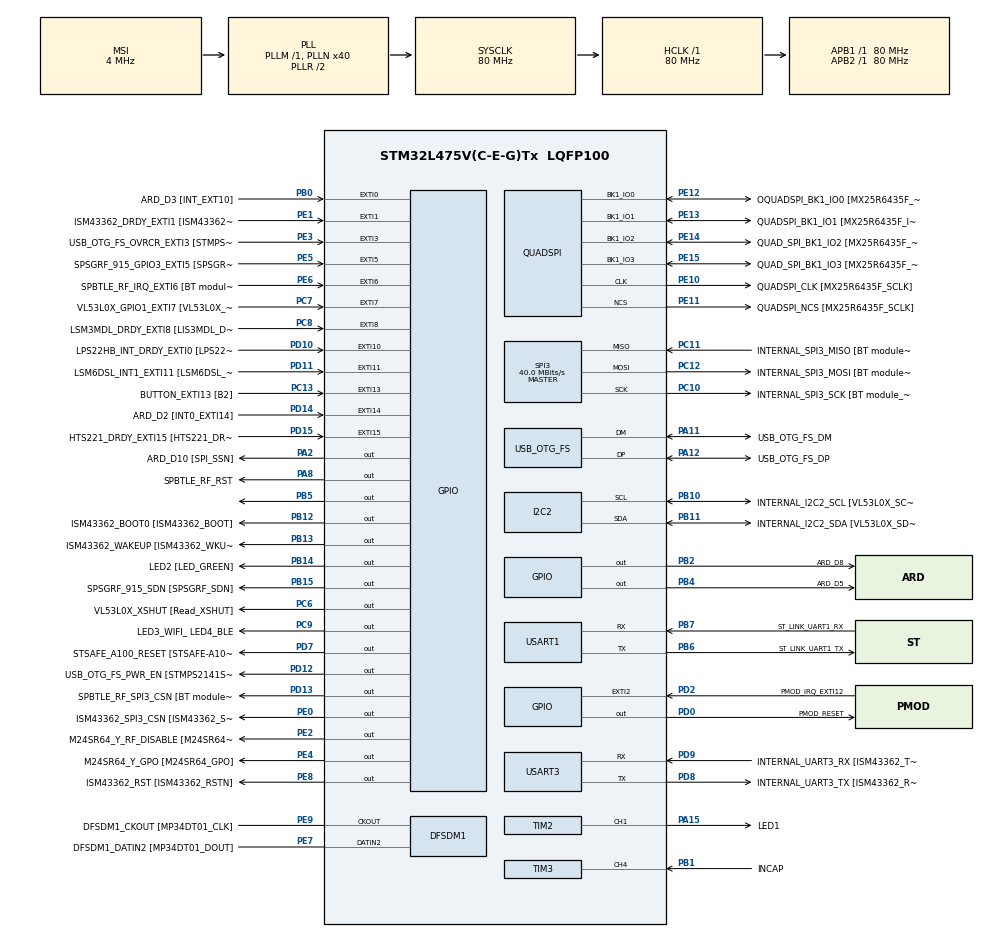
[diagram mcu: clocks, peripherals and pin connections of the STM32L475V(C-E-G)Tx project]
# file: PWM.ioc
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I2C2.Timing=0x10D19CE4
Mcu.Family=STM32L4
Mcu.Name=STM32L475V(C-E-G)Tx
Mcu.Package=LQFP100
NVIC.EXTI15_10_IRQn=true\:0\:0\:false\:false\:true\:true\:true\:true
NVIC.EXTI9_5_IRQn=true\:0\:0\:false\:false\:true\:true\:true\:true
NVIC.PriorityGroup=NVIC_PRIORITYGROUP_4
NVIC.TIM3_IRQn=true\:0\:0\:false\:false\:true\:true\:true\:true
PA0.GPIO_Label=ARD_D1 [UART4_TX]
PA0.Signal=UART4_TX
PA1.GPIO_Label=ARD_D0 [UART4_RX]
PA1.Signal=UART4_RX
PA10.GPIO_Label=USB_OTG_FS_ID
PA10.Signal=USB_OTG_FS_ID
PA11.GPIO_Label=USB_OTG_FS_DM
PA11.Mode=Device_Only
PA11.Signal=USB_OTG_FS_DM
PA12.GPIO_Label=USB_OTG_FS_DP
PA12.Mode=Device_Only
PA12.Signal=USB_OTG_FS_DP
PA13\ (JTMS-SWDIO).GPIO_Label=SYS_JTMS_SWDIO
PA13\ (JTMS-SWDIO).Mode=Serial_Wire
PA13\ (JTMS-SWDIO).Signal=SYS_JTMS-SWDIO
PA14\ (JTCK-SWCLK).GPIO_Label=SYS_JTCK_SWCLK
PA14\ (JTCK-SWCLK).Mode=Serial_Wire
PA14\ (JTCK-SWCLK).Signal=SYS_JTCK-SWCLK
PA15\ (JTDI).GPIO_Label=LED1
PA15\ (JTDI).Signal=S_TIM2_CH1
PA2.GPIO_Label=ARD_D10 [SPI_SSN]
PA2.Signal=GPIO_Output
PA3.GPIO_Label=ARD_D4
PA3.Signal=S_TIM2_CH4
PA4.GPIO_Label=ARD_D7
PA4.Signal=ADCx_IN9
PA6.GPIO_Label=ARD_D12 [SPI1_MISO]
PA6.Signal=SPI1_MISO
PA7.GPIO_Label=ARD_D11 [SPI1_MOSI]
PA7.Signal=SPI1_MOSI
PA8.GPIO_Label=SPBTLE_RF_RST
PA8.Signal=GPIO_Output
PA9.GPIO_Label=USB_OTG_FS_VBUS [STMPS2141STR_OUT]
PA9.Signal=USB_OTG_FS_VBUS
PB0.GPIO_Label=ARD_D3 [INT_EXT10]
PB0.Signal=GPXTI0
PB1.GPIO_Label=INCAP
PB1.Signal=S_TIM3_CH4
PB10.GPIO_Label=INTERNAL_I2C2_SCL [VL53L0X_SCL]
PB10.GPIO_Pu=GPIO_PULLUP
PB10.Mode=I2C
PB10.Signal=I2C2_SCL
PB11.GPIO_Label=INTERNAL_I2C2_SDA [VL53L0X_SDA]
PB11.GPIO_Pu=GPIO_PULLUP
PB11.Mode=I2C
PB11.Signal=I2C2_SDA
PB12.GPIO_Label=ISM43362_BOOT0 [ISM43362_BOOT]
PB12.Signal=GPIO_Output
PB13.GPIO_Label=ISM43362_WAKEUP [ISM43362_WKUP]
PB13.Signal=GPIO_Output
PB14.GPIO_Label=LED2 [LED_GREEN]
PB14.Signal=GPIO_Output
PB15.GPIO_Label=SPSGRF_915_SDN [SPSGRF_SDN]
PB15.Signal=GPIO_Output
PB2.GPIO_Label=ARD_D8
PB2.Signal=GPIO_Output
PB3\ (JTDO-TRACESWO).GPIO_Label=SYS_JTD0_SWO
PB3\ (JTDO-TRACESWO).Signal=SYS_JTDO-SWO
PB4\ (NJTRST).GPIO_Label=ARD_D5
PB4\ (NJTRST).Signal=GPIO_Output
PB5.Signal=GPIO_Output
PB6.GPIO_Label=ST_LINK_UART1_TX
PB6.Mode=Asynchronous
PB6.Signal=USART1_TX
PB7.GPIO_Label=ST_LINK_UART1_RX
PB7.Mode=Asynchronous
PB7.Signal=USART1_RX
PB8.GPIO_Label=ARD_D15 [I2C1_SCL]
PB8.Signal=I2C1_SCL
PB9.GPIO_Label=ARD_D14 [I2C1_SDA]
PB9.Signal=I2C1_SDA
PC0.GPIO_Label=ARD_A5 [ADC]
PC0.Signal=ADCx_IN1
PC1.GPIO_Label=ARD_A4 [ADC]
PC1.Signal=ADCx_IN2
PC10.GPIO_Label=INTERNAL_SPI3_SCK [BT module_SPI_SCLK] [ISM43362_SCK]
PC10.Mode=Full_Duplex_Master
PC10.Signal=SPI3_SCK
PC11.GPIO_Label=INTERNAL_SPI3_MISO [BT module_SPI_MISO] [ISM43362_MISO]
PC11.Mode=Full_Duplex_Master
PC11.Signal=SPI3_MISO
PC12.GPIO_Label=INTERNAL_SPI3_MOSI [BT module_SPI_MOSI] [ISM43362_MOSI]
PC12.Mode=Full_Duplex_Master
PC12.Signal=SPI3_MOSI
PC13.GPIO_Label=BUTTON_EXTI13 [B2]
PC13.GPIO_ModeDefaultEXTI=GPIO_MODE_IT_FALLING
PC13.Signal=GPXTI13
PC14-OSC32_IN\ (PC14).Mode=LSE-External-Oscillator
PC14-OSC32_IN\ (PC14).Signal=RCC_OSC32_IN
PC15-OSC32_OUT\ (PC15).Mode=LSE-External-Oscillator
PC15-OSC32_OUT\ (PC15).Signal=RCC_OSC32_OUT
PC2.GPIO_Label=ARD_A3 [ADC]
PC2.Signal=ADCx_IN3
PC3.GPIO_Label=ARD_A2 [ADC]
PC3.Signal=ADCx_IN4
PC4.GPIO_Label=ARD_A1 [ADC]
PC4.Signal=ADCx_IN13
PC5.GPIO_Label=ARD_A0 [ADC]
PC5.Signal=ADCx_IN14
PC6.GPIO_Label=VL53L0X_XSHUT [Read_XSHUT]
PC6.Signal=GPIO_Output
PC7.GPIO_Label=VL53L0X_GPIO1_EXTI7 [VL53L0X_GPIO1]
PC7.Signal=GPXTI7
PC8.GPIO_Label=LSM3MDL_DRDY_EXTI8 [LIS3MDL_DRDY]
PC8.Signal=GPXTI8
PC9.GPIO_Label=LED3_WIFI_ LED4_BLE
PC9.Signal=GPIO_Output
PD0.GPIO_Label=PMOD_RESET
PD0.Signal=GPIO_Output
PD1.GPIO_Label=PMOD_SPI2_SCK
PD1.Signal=SPI2_SCK
PD10.GPIO_Label=LPS22HB_INT_DRDY_EXTI0 [LPS22HB_INT_DRDY] 
PD10.Signal=GPXTI10
PD11.GPIO_Label=LSM6DSL_INT1_EXTI11 [LSM6DSL_INT1]
PD11.Signal=GPXTI11
PD12.GPIO_Label=USB_OTG_FS_PWR_EN [STMPS2141STR_EN]
PD12.Signal=GPIO_Output
PD13.GPIO_Label=SPBTLE_RF_SPI3_CSN [BT module_SPI_CS]
PD13.PinState=GPIO_PIN_SET
PD13.Signal=GPIO_Output
PD14.GPIO_Label=ARD_D2 [INT0_EXTI14]
PD14.Signal=GPXTI14
PD15.GPIO_Label=HTS221_DRDY_EXTI15 [HTS221_DRDY]
PD15.Signal=GPXTI15
PD2.GPIO_Label=PMOD_IRQ_EXTI12
PD2.Signal=GPXTI2
PD3.GPIO_Label=PMOD_UART2_CTS
PD3.Signal=USART2_CTS
PD4.GPIO_Label=PMOD_UART2_RTS
PD4.Signal=USART2_RTS
PD5.GPIO_Label=PMOD_UART2_TX
PD5.Signal=USART2_TX
PD6.GPIO_Label=PMOD_UART2_RX
PD6.Signal=USART2_RX
PD7.GPIO_Label=STSAFE_A100_RESET [STSAFE-A100_RESET]
PD7.Signal=GPIO_Output
PD8.GPIO_Label=INTERNAL_UART3_TX [ISM43362_RX]
PD8.Mode=Asynchronous
PD8.Signal=USART3_TX
PD9.GPIO_Label=INTERNAL_UART3_RX [ISM43362_TX]
PD9.Mode=Asynchronous
PD9.Signal=USART3_RX
PE0.GPIO_Label=ISM43362_SPI3_CSN [ISM43362_SSN]
PE0.PinState=GPIO_PIN_SET
PE0.Signal=GPIO_Output
PE1.GPIO_Label=ISM43362_DRDY_EXTI1 [ISM43362_DATARDY]
PE1.Signal=GPXTI1
PE10.GPIO_Label=QUADSPI_CLK [MX25R6435F_SCLK]
PE10.Mode=Single Bank
PE10.Signal=QUADSPI_CLK
PE11.GPIO_Label=QUADSPI_NCS [MX25R6435F_SCLK]
PE11.Mode=Single Bank
PE11.Signal=QUADSPI_NCS
PE12.GPIO_Label=OQUADSPI_BK1_IO0 [MX25R6435F_IO0]
PE12.Mode=Single Bank
PE12.Signal=QUADSPI_BK1_IO0
PE13.GPIO_Label=QUADSPI_BK1_IO1 [MX25R6435F_IO1]
PE13.Mode=Single Bank
PE13.Signal=QUADSPI_BK1_IO1
PE14.GPIO_Label=QUAD_SPI_BK1_IO2 [MX25R6435F_IO2]
PE14.Mode=Single Bank
PE14.Signal=QUADSPI_BK1_IO2
PE15.GPIO_Label=QUAD_SPI_BK1_IO3 [MX25R6435F_IO3]
PE15.Mode=Single Bank
PE15.Signal=QUADSPI_BK1_IO3
PE2.GPIO_Label=M24SR64_Y_RF_DISABLE [M24SR64_RFDIS]
PE2.Signal=GPIO_Output
PE3.GPIO_Label=USB_OTG_FS_OVRCR_EXTI3 [STMPS2141STR_FAULT]
PE3.Signal=GPXTI3
PE4.GPIO_Label=M24SR64_Y_GPO [M24SR64_GPO]
PE4.Signal=GPIO_Output
PE5.GPIO_Label=SPSGRF_915_GPIO3_EXTI5 [SPSGRF_GPIO_3]
PE5.Signal=GPXTI5
PE6.GPIO_Label=SPBTLE_RF_IRQ_EXTI6 [BT module_SPI_IRQ]
PE6.Signal=GPXTI6
PE7.GPIO_Label=DFSDM1_DATIN2 [MP34DT01_DOUT]
PE7.Signal=S_DATAIN2DFSDM1
PE8.GPIO_Label=ISM43362_RST [ISM43362_RSTN]
PE8.Signal=GPIO_Output
PE9.GPIO_Label=DFSDM1_CKOUT [MP34DT01_CLK]
PE9.Signal=S_CKOUTDFSDM1
ProjectManager.HeapSize=0x200
ProjectManager.StackSize=0x400
ProjectManager.TargetToolchain=STM32CubeIDE
QUADSPI.ClockPrescaler=2
QUADSPI.FifoThreshold=4
QUADSPI.FlashSize=23
QUADSPI.SampleShifting=QSPI_SAMPLE_SHIFTING_HALFCYCLE
RCC.ADCFreq_Value=48000000
RCC.AHBFreq_Value=80000000
RCC.APB1Freq_Value=80000000
RCC.APB1TimFreq_Value=80000000
RCC.APB2Freq_Value=80000000
RCC.APB2TimFreq_Value=80000000
RCC.CortexFreq_Value=80000000
RCC.HCLKFreq_Value=80000000
RCC.HSE_VALUE=8000000
RCC.HSI_VALUE=16000000
RCC.MSI_VALUE=4000000
RCC.PLLN=40
RCC.PLLSAI1N=24
RCC.SYSCLKFreq_VALUE=80000000
RCC.SYSCLKSource=RCC_SYSCLKSOURCE_PLLCLK
RCC.USBFreq_Value=48000000
RCC.VCOOutputFreq_Value=160000000
SH.ADCx_IN1.0=ADC1_IN1
SH.ADCx_IN13.0=ADC1_IN13
SH.ADCx_IN14.0=ADC1_IN14
SH.ADCx_IN2.0=ADC1_IN2
SH.ADCx_IN3.0=ADC1_IN3
SH.ADCx_IN4.0=ADC1_IN4
SH.ADCx_IN9.0=ADC1_IN9
SH.S_CKOUTDFSDM1.0=DFSDM1_CKOUT,CKOUT
SH.S_CKOUTDFSDM1.1=DFSDM1_CKOUT,PDM_SPI_Input_from_ch12_and_Internal_Clock
SH.S_DATAIN2DFSDM1.0=DFSDM1_DATIN2,PDM_SPI_Input_from_ch12_and_Internal_Clock
SH.S_TIM2_CH1.0=TIM2_CH1,PWM Generation1 CH1
SH.S_TIM2_CH4.0=TIM2_CH4
SH.S_TIM3_CH4.0=TIM3_CH4,Input_Capture4_from_TI4
SPI3.CalculateBaudRate=40.0 MBits/s
SPI3.Direction=SPI_DIRECTION_2LINES
SPI3.Mode=SPI_MODE_MASTER
SPI3.VirtualType=VM_MASTER
TIM2.AutoReloadPreload=TIM_AUTORELOAD_PRELOAD_ENABLE
TIM2.Channel-PWM\ Generation1\ CH1=TIM_CHANNEL_1
TIM2.Period=7999
TIM2.Prescaler=9999
TIM2.Pulse-PWM\ Generation1\ CH1=3999
TIM3.Channel-Input_Capture4_from_TI4=TIM_CHANNEL_4
TIM3.Period=15999
TIM3.Prescaler=9999
USART1.VirtualMode-Asynchronous=VM_ASYNC
USART3.VirtualMode-Asynchronous=VM_ASYNC
USB_OTG_FS.VirtualMode=Device_Only
VP_TIM2_VS_ClockSourceINT.Mode=Internal
VP_TIM3_VS_ClockSourceINT.Mode=Internal
board=B-L475E-IOT01A2

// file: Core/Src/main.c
/* USER CODE BEGIN Header */
/**
  ******************************************************************************
  * @file           : main.c
  * @brief          : Main program body
  ******************************************************************************
  * @attention
  *
  * Copyright (c) 2024 STMicroelectronics.
  * All rights reserved.
  *
  * This software is licensed under terms that can be found in the LICENSE file
  * in the root directory of this software component.
  * If no LICENSE file comes with this software, it is provided AS-IS.
  *
  ******************************************************************************
  */
/* USER CODE END Header */
#include "main.h"
#include "uart_printf.h"

DFSDM_Channel_HandleTypeDef hdfsdm1_channel1;

I2C_HandleTypeDef hi2c2;

QSPI_HandleTypeDef hqspi;

SPI_HandleTypeDef hspi3;

TIM_HandleTypeDef htim2;
TIM_HandleTypeDef htim3;

UART_HandleTypeDef huart1;
UART_HandleTypeDef huart3;

PCD_HandleTypeDef hpcd_USB_OTG_FS;

void SystemClock_Config(void);
static void MX_GPIO_Init(void);
static void MX_DFSDM1_Init(void);
static void MX_I2C2_Init(void);
static void MX_QUADSPI_Init(void);
static void MX_SPI3_Init(void);
static void MX_USART1_UART_Init(void);
static void MX_USART3_UART_Init(void);
static void MX_USB_OTG_FS_PCD_Init(void);
static void MX_TIM2_Init(void);
static void MX_TIM3_Init(void);

int main(void)
{

  /* MCU Configuration--------------------------------------------------------*/

  /* Reset of all peripherals, Initializes the Flash interface and the Systick. */
  HAL_Init();

  /* Configure the system clock */
  SystemClock_Config();

  /* Initialize all configured peripherals */
  MX_GPIO_Init();
  MX_DFSDM1_Init();
  MX_I2C2_Init();
  MX_QUADSPI_Init();
  MX_SPI3_Init();
  MX_USART1_UART_Init();
  MX_USART3_UART_Init();
  MX_USB_OTG_FS_PCD_Init();
  MX_TIM2_Init();
  MX_TIM3_Init();
  /* USER CODE BEGIN 2 */
  HAL_TIM_PWM_Start(&htim2,TIM_CHANNEL_1);
  HAL_TIM_PWM_Start_IT(&htim3,TIM_CHANNEL_4);
  UART_Printf_Dbg("123\n");

  /* USER CODE END 2 */

  /* Infinite loop */
  while (1)
  {

  }
}

void SystemClock_Config(void)
{
  RCC_OscInitTypeDef RCC_OscInitStruct = {0};
  RCC_ClkInitTypeDef RCC_ClkInitStruct = {0};

  /** Configure the main internal regulator output voltage
  */
  if (HAL_PWREx_ControlVoltageScaling(PWR_REGULATOR_VOLTAGE_SCALE1) != HAL_OK)
  {
    Error_Handler();
  }

  /** Configure LSE Drive Capability
  */
  HAL_PWR_EnableBkUpAccess();
  __HAL_RCC_LSEDRIVE_CONFIG(RCC_LSEDRIVE_LOW);

  /** Initializes the RCC Oscillators according to the specified parameters
  * in the RCC_OscInitTypeDef structure.
  */
  RCC_OscInitStruct.OscillatorType = RCC_OSCILLATORTYPE_LSE|RCC_OSCILLATORTYPE_MSI;
  RCC_OscInitStruct.LSEState = RCC_LSE_ON;
  RCC_OscInitStruct.MSIState = RCC_MSI_ON;
  RCC_OscInitStruct.MSICalibrationValue = 0;
  RCC_OscInitStruct.MSIClockRange = RCC_MSIRANGE_6;
  RCC_OscInitStruct.PLL.PLLState = RCC_PLL_ON;
  RCC_OscInitStruct.PLL.PLLSource = RCC_PLLSOURCE_MSI;
  RCC_OscInitStruct.PLL.PLLM = 1;
  RCC_OscInitStruct.PLL.PLLN = 40;
  RCC_OscInitStruct.PLL.PLLP = RCC_PLLP_DIV7;
  RCC_OscInitStruct.PLL.PLLQ = RCC_PLLQ_DIV2;
  RCC_OscInitStruct.PLL.PLLR = RCC_PLLR_DIV2;
  if (HAL_RCC_OscConfig(&RCC_OscInitStruct) != HAL_OK)
  {
    Error_Handler();
  }

  /** Initializes the CPU, AHB and APB buses clocks
  */
  RCC_ClkInitStruct.ClockType = RCC_CLOCKTYPE_HCLK|RCC_CLOCKTYPE_SYSCLK
                              |RCC_CLOCKTYPE_PCLK1|RCC_CLOCKTYPE_PCLK2;
  RCC_ClkInitStruct.SYSCLKSource = RCC_SYSCLKSOURCE_PLLCLK;
  RCC_ClkInitStruct.AHBCLKDivider = RCC_SYSCLK_DIV1;
  RCC_ClkInitStruct.APB1CLKDivider = RCC_HCLK_DIV1;
  RCC_ClkInitStruct.APB2CLKDivider = RCC_HCLK_DIV1;

  if (HAL_RCC_ClockConfig(&RCC_ClkInitStruct, FLASH_LATENCY_4) != HAL_OK)
  {
    Error_Handler();
  }

  /** Enable MSI Auto calibration
  */
  HAL_RCCEx_EnableMSIPLLMode();
}

static void MX_DFSDM1_Init(void)
{

  hdfsdm1_channel1.Instance = DFSDM1_Channel1;
  hdfsdm1_channel1.Init.OutputClock.Activation = ENABLE;
  hdfsdm1_channel1.Init.OutputClock.Selection = DFSDM_CHANNEL_OUTPUT_CLOCK_SYSTEM;
  hdfsdm1_channel1.Init.OutputClock.Divider = 2;
  hdfsdm1_channel1.Init.Input.Multiplexer = DFSDM_CHANNEL_EXTERNAL_INPUTS;
  hdfsdm1_channel1.Init.Input.DataPacking = DFSDM_CHANNEL_STANDARD_MODE;
  hdfsdm1_channel1.Init.Input.Pins = DFSDM_CHANNEL_FOLLOWING_CHANNEL_PINS;
  hdfsdm1_channel1.Init.SerialInterface.Type = DFSDM_CHANNEL_SPI_RISING;
  hdfsdm1_channel1.Init.SerialInterface.SpiClock = DFSDM_CHANNEL_SPI_CLOCK_INTERNAL;
  hdfsdm1_channel1.Init.Awd.FilterOrder = DFSDM_CHANNEL_FASTSINC_ORDER;
  hdfsdm1_channel1.Init.Awd.Oversampling = 1;
  hdfsdm1_channel1.Init.Offset = 0;
  hdfsdm1_channel1.Init.RightBitShift = 0x00;
  if (HAL_DFSDM_ChannelInit(&hdfsdm1_channel1) != HAL_OK)
  {
    Error_Handler();
  }

}

static void MX_I2C2_Init(void)
{

  hi2c2.Instance = I2C2;
  hi2c2.Init.Timing = 0x10D19CE4;
  hi2c2.Init.OwnAddress1 = 0;
  hi2c2.Init.AddressingMode = I2C_ADDRESSINGMODE_7BIT;
  hi2c2.Init.DualAddressMode = I2C_DUALADDRESS_DISABLE;
  hi2c2.Init.OwnAddress2 = 0;
  hi2c2.Init.OwnAddress2Masks = I2C_OA2_NOMASK;
  hi2c2.Init.GeneralCallMode = I2C_GENERALCALL_DISABLE;
  hi2c2.Init.NoStretchMode = I2C_NOSTRETCH_DISABLE;
  if (HAL_I2C_Init(&hi2c2) != HAL_OK)
  {
    Error_Handler();
  }

  /** Configure Analogue filter
  */
  if (HAL_I2CEx_ConfigAnalogFilter(&hi2c2, I2C_ANALOGFILTER_ENABLE) != HAL_OK)
  {
    Error_Handler();
  }

  /** Configure Digital filter
  */
  if (HAL_I2CEx_ConfigDigitalFilter(&hi2c2, 0) != HAL_OK)
  {
    Error_Handler();
  }

}

static void MX_QUADSPI_Init(void)
{

  /* QUADSPI parameter configuration*/
  hqspi.Instance = QUADSPI;
  hqspi.Init.ClockPrescaler = 2;
  hqspi.Init.FifoThreshold = 4;
  hqspi.Init.SampleShifting = QSPI_SAMPLE_SHIFTING_HALFCYCLE;
  hqspi.Init.FlashSize = 23;
  hqspi.Init.ChipSelectHighTime = QSPI_CS_HIGH_TIME_1_CYCLE;
  hqspi.Init.ClockMode = QSPI_CLOCK_MODE_0;
  if (HAL_QSPI_Init(&hqspi) != HAL_OK)
  {
    Error_Handler();
  }

}

static void MX_SPI3_Init(void)
{

  /* SPI3 parameter configuration*/
  hspi3.Instance = SPI3;
  hspi3.Init.Mode = SPI_MODE_MASTER;
  hspi3.Init.Direction = SPI_DIRECTION_2LINES;
  hspi3.Init.DataSize = SPI_DATASIZE_4BIT;
  hspi3.Init.CLKPolarity = SPI_POLARITY_LOW;
  hspi3.Init.CLKPhase = SPI_PHASE_1EDGE;
  hspi3.Init.NSS = SPI_NSS_SOFT;
  hspi3.Init.BaudRatePrescaler = SPI_BAUDRATEPRESCALER_2;
  hspi3.Init.FirstBit = SPI_FIRSTBIT_MSB;
  hspi3.Init.TIMode = SPI_TIMODE_DISABLE;
  hspi3.Init.CRCCalculation = SPI_CRCCALCULATION_DISABLE;
  hspi3.Init.CRCPolynomial = 7;
  hspi3.Init.CRCLength = SPI_CRC_LENGTH_DATASIZE;
  hspi3.Init.NSSPMode = SPI_NSS_PULSE_ENABLE;
  if (HAL_SPI_Init(&hspi3) != HAL_OK)
  {
    Error_Handler();
  }

}

static void MX_TIM2_Init(void)
{

  TIM_ClockConfigTypeDef sClockSourceConfig = {0};
  TIM_MasterConfigTypeDef sMasterConfig = {0};
  TIM_OC_InitTypeDef sConfigOC = {0};

  htim2.Instance = TIM2;
  htim2.Init.Prescaler = 9999;
  htim2.Init.CounterMode = TIM_COUNTERMODE_UP;
  htim2.Init.Period = 3999;
  htim2.Init.ClockDivision = TIM_CLOCKDIVISION_DIV1;
  htim2.Init.AutoReloadPreload = TIM_AUTORELOAD_PRELOAD_ENABLE;
  if (HAL_TIM_Base_Init(&htim2) != HAL_OK)
  {
    Error_Handler();
  }
  sClockSourceConfig.ClockSource = TIM_CLOCKSOURCE_INTERNAL;
  if (HAL_TIM_ConfigClockSource(&htim2, &sClockSourceConfig) != HAL_OK)
  {
    Error_Handler();
  }
  if (HAL_TIM_PWM_Init(&htim2) != HAL_OK)
  {
    Error_Handler();
  }
  sMasterConfig.MasterOutputTrigger = TIM_TRGO_RESET;
  sMasterConfig.MasterSlaveMode = TIM_MASTERSLAVEMODE_DISABLE;
  if (HAL_TIMEx_MasterConfigSynchronization(&htim2, &sMasterConfig) != HAL_OK)
  {
    Error_Handler();
  }
  sConfigOC.OCMode = TIM_OCMODE_PWM1;
  sConfigOC.Pulse = 1999;
  sConfigOC.OCPolarity = TIM_OCPOLARITY_HIGH;
  sConfigOC.OCFastMode = TIM_OCFAST_DISABLE;
  if (HAL_TIM_PWM_ConfigChannel(&htim2, &sConfigOC, TIM_CHANNEL_1) != HAL_OK)
  {
    Error_Handler();
  }
  HAL_TIM_MspPostInit(&htim2);

}

static void MX_TIM3_Init(void)
{

  TIM_ClockConfigTypeDef sClockSourceConfig = {0};
  TIM_MasterConfigTypeDef sMasterConfig = {0};
  TIM_IC_InitTypeDef sConfigIC = {0};

  htim3.Instance = TIM3;
  htim3.Init.Prescaler = 9999;
  htim3.Init.CounterMode = TIM_COUNTERMODE_UP;
  htim3.Init.Period = 15999;
  htim3.Init.ClockDivision = TIM_CLOCKDIVISION_DIV1;
  htim3.Init.AutoReloadPreload = TIM_AUTORELOAD_PRELOAD_DISABLE;
  if (HAL_TIM_Base_Init(&htim3) != HAL_OK)
  {
    Error_Handler();
  }
  sClockSourceConfig.ClockSource = TIM_CLOCKSOURCE_INTERNAL;
  if (HAL_TIM_ConfigClockSource(&htim3, &sClockSourceConfig) != HAL_OK)
  {
    Error_Handler();
  }
  if (HAL_TIM_IC_Init(&htim3) != HAL_OK)
  {
    Error_Handler();
  }
  sMasterConfig.MasterOutputTrigger = TIM_TRGO_RESET;
  sMasterConfig.MasterSlaveMode = TIM_MASTERSLAVEMODE_DISABLE;
  if (HAL_TIMEx_MasterConfigSynchronization(&htim3, &sMasterConfig) != HAL_OK)
  {
    Error_Handler();
  }
  sConfigIC.ICPolarity = TIM_INPUTCHANNELPOLARITY_RISING;
  sConfigIC.ICSelection = TIM_ICSELECTION_DIRECTTI;
  sConfigIC.ICPrescaler = TIM_ICPSC_DIV1;
  sConfigIC.ICFilter = 0;
  if (HAL_TIM_IC_ConfigChannel(&htim3, &sConfigIC, TIM_CHANNEL_4) != HAL_OK)
  {
    Error_Handler();
  }

}

static void MX_USART1_UART_Init(void)
{

  huart1.Instance = USART1;
  huart1.Init.BaudRate = 115200;
  huart1.Init.WordLength = UART_WORDLENGTH_8B;
  huart1.Init.StopBits = UART_STOPBITS_1;
  huart1.Init.Parity = UART_PARITY_NONE;
  huart1.Init.Mode = UART_MODE_TX_RX;
  huart1.Init.HwFlowCtl = UART_HWCONTROL_NONE;
  huart1.Init.OverSampling = UART_OVERSAMPLING_16;
  huart1.Init.OneBitSampling = UART_ONE_BIT_SAMPLE_DISABLE;
  huart1.AdvancedInit.AdvFeatureInit = UART_ADVFEATURE_NO_INIT;
  if (HAL_UART_Init(&huart1) != HAL_OK)
  {
    Error_Handler();
  }

}

static void MX_USART3_UART_Init(void)
{

  huart3.Instance = USART3;
  huart3.Init.BaudRate = 115200;
  huart3.Init.WordLength = UART_WORDLENGTH_8B;
  huart3.Init.StopBits = UART_STOPBITS_1;
  huart3.Init.Parity = UART_PARITY_NONE;
  huart3.Init.Mode = UART_MODE_TX_RX;
  huart3.Init.HwFlowCtl = UART_HWCONTROL_NONE;
  huart3.Init.OverSampling = UART_OVERSAMPLING_16;
  huart3.Init.OneBitSampling = UART_ONE_BIT_SAMPLE_DISABLE;
  huart3.AdvancedInit.AdvFeatureInit = UART_ADVFEATURE_NO_INIT;
  if (HAL_UART_Init(&huart3) != HAL_OK)
  {
    Error_Handler();
  }

}

static void MX_USB_OTG_FS_PCD_Init(void)
{

  hpcd_USB_OTG_FS.Instance = USB_OTG_FS;
  hpcd_USB_OTG_FS.Init.dev_endpoints = 6;
  hpcd_USB_OTG_FS.Init.speed = PCD_SPEED_FULL;
  hpcd_USB_OTG_FS.Init.phy_itface = PCD_PHY_EMBEDDED;
  hpcd_USB_OTG_FS.Init.Sof_enable = DISABLE;
  hpcd_USB_OTG_FS.Init.low_power_enable = DISABLE;
  hpcd_USB_OTG_FS.Init.lpm_enable = DISABLE;
  hpcd_USB_OTG_FS.Init.battery_charging_enable = DISABLE;
  hpcd_USB_OTG_FS.Init.use_dedicated_ep1 = DISABLE;
  hpcd_USB_OTG_FS.Init.vbus_sensing_enable = DISABLE;
  if (HAL_PCD_Init(&hpcd_USB_OTG_FS) != HAL_OK)
  {
    Error_Handler();
  }

}

static void MX_GPIO_Init(void)
{
  GPIO_InitTypeDef GPIO_InitStruct = {0};

  /* GPIO Ports Clock Enable */
  __HAL_RCC_GPIOE_CLK_ENABLE();
  __HAL_RCC_GPIOC_CLK_ENABLE();
  __HAL_RCC_GPIOA_CLK_ENABLE();
  __HAL_RCC_GPIOB_CLK_ENABLE();
  __HAL_RCC_GPIOD_CLK_ENABLE();

  /*Configure GPIO pin Output Level */
  HAL_GPIO_WritePin(GPIOE, M24SR64_Y_RF_DISABLE_Pin|M24SR64_Y_GPO_Pin|ISM43362_RST_Pin, GPIO_PIN_RESET);

  /*Configure GPIO pin Output Level */
  HAL_GPIO_WritePin(GPIOA, ARD_D10_Pin|SPBTLE_RF_RST_Pin, GPIO_PIN_RESET);

  /*Configure GPIO pin Output Level */
  HAL_GPIO_WritePin(GPIOB, ARD_D8_Pin|ISM43362_BOOT0_Pin|ISM43362_WAKEUP_Pin|LED2_Pin
                          |SPSGRF_915_SDN_Pin|ARD_D5_Pin|GPIO_PIN_5, GPIO_PIN_RESET);

  /*Configure GPIO pin Output Level */
  HAL_GPIO_WritePin(GPIOD, USB_OTG_FS_PWR_EN_Pin|PMOD_RESET_Pin|STSAFE_A100_RESET_Pin, GPIO_PIN_RESET);

  /*Configure GPIO pin Output Level */
  HAL_GPIO_WritePin(SPBTLE_RF_SPI3_CSN_GPIO_Port, SPBTLE_RF_SPI3_CSN_Pin, GPIO_PIN_SET);

  /*Configure GPIO pin Output Level */
  HAL_GPIO_WritePin(GPIOC, VL53L0X_XSHUT_Pin|LED3_WIFI__LED4_BLE_Pin, GPIO_PIN_RESET);

  /*Configure GPIO pin Output Level */
  HAL_GPIO_WritePin(ISM43362_SPI3_CSN_GPIO_Port, ISM43362_SPI3_CSN_Pin, GPIO_PIN_SET);

  /*Configure GPIO pins : M24SR64_Y_RF_DISABLE_Pin M24SR64_Y_GPO_Pin ISM43362_RST_Pin ISM43362_SPI3_CSN_Pin */
  GPIO_InitStruct.Pin = M24SR64_Y_RF_DISABLE_Pin|M24SR64_Y_GPO_Pin|ISM43362_RST_Pin|ISM43362_SPI3_CSN_Pin;
  GPIO_InitStruct.Mode = GPIO_MODE_OUTPUT_PP;
  GPIO_InitStruct.Pull = GPIO_NOPULL;
  GPIO_InitStruct.Speed = GPIO_SPEED_FREQ_LOW;
  HAL_GPIO_Init(GPIOE, &GPIO_InitStruct);

  /*Configure GPIO pins : USB_OTG_FS_OVRCR_EXTI3_Pin SPSGRF_915_GPIO3_EXTI5_Pin SPBTLE_RF_IRQ_EXTI6_Pin ISM43362_DRDY_EXTI1_Pin */
  GPIO_InitStruct.Pin = USB_OTG_FS_OVRCR_EXTI3_Pin|SPSGRF_915_GPIO3_EXTI5_Pin|SPBTLE_RF_IRQ_EXTI6_Pin|ISM43362_DRDY_EXTI1_Pin;
  GPIO_InitStruct.Mode = GPIO_MODE_IT_RISING;
  GPIO_InitStruct.Pull = GPIO_NOPULL;
  HAL_GPIO_Init(GPIOE, &GPIO_InitStruct);

  /*Configure GPIO pin : BUTTON_EXTI13_Pin */
  GPIO_InitStruct.Pin = BUTTON_EXTI13_Pin;
  GPIO_InitStruct.Mode = GPIO_MODE_IT_FALLING;
  GPIO_InitStruct.Pull = GPIO_NOPULL;
  HAL_GPIO_Init(BUTTON_EXTI13_GPIO_Port, &GPIO_InitStruct);

  /*Configure GPIO pins : ARD_A5_Pin ARD_A4_Pin ARD_A3_Pin ARD_A2_Pin
                           ARD_A1_Pin ARD_A0_Pin */
  GPIO_InitStruct.Pin = ARD_A5_Pin|ARD_A4_Pin|ARD_A3_Pin|ARD_A2_Pin
                          |ARD_A1_Pin|ARD_A0_Pin;
  GPIO_InitStruct.Mode = GPIO_MODE_ANALOG_ADC_CONTROL;
  GPIO_InitStruct.Pull = GPIO_NOPULL;
  HAL_GPIO_Init(GPIOC, &GPIO_InitStruct);

  /*Configure GPIO pins : ARD_D1_Pin ARD_D0_Pin */
  GPIO_InitStruct.Pin = ARD_D1_Pin|ARD_D0_Pin;
  GPIO_InitStruct.Mode = GPIO_MODE_AF_PP;
  GPIO_InitStruct.Pull = GPIO_NOPULL;
  GPIO_InitStruct.Speed = GPIO_SPEED_FREQ_VERY_HIGH;
  GPIO_InitStruct.Alternate = GPIO_AF8_UART4;
  HAL_GPIO_Init(GPIOA, &GPIO_InitStruct);

  /*Configure GPIO pins : ARD_D10_Pin SPBTLE_RF_RST_Pin */
  GPIO_InitStruct.Pin = ARD_D10_Pin|SPBTLE_RF_RST_Pin;
  GPIO_InitStruct.Mode = GPIO_MODE_OUTPUT_PP;
  GPIO_InitStruct.Pull = GPIO_NOPULL;
  GPIO_InitStruct.Speed = GPIO_SPEED_FREQ_LOW;
  HAL_GPIO_Init(GPIOA, &GPIO_InitStruct);

  /*Configure GPIO pin : ARD_D7_Pin */
  GPIO_InitStruct.Pin = ARD_D7_Pin;
  GPIO_InitStruct.Mode = GPIO_MODE_ANALOG_ADC_CONTROL;
  GPIO_InitStruct.Pull = GPIO_NOPULL;
  HAL_GPIO_Init(ARD_D7_GPIO_Port, &GPIO_InitStruct);

  /*Configure GPIO pins : ARD_D12_Pin ARD_D11_Pin */
  GPIO_InitStruct.Pin = ARD_D12_Pin|ARD_D11_Pin;
  GPIO_InitStruct.Mode = GPIO_MODE_AF_PP;
  GPIO_InitStruct.Pull = GPIO_NOPULL;
  GPIO_InitStruct.Speed = GPIO_SPEED_FREQ_VERY_HIGH;
  GPIO_InitStruct.Alternate = GPIO_AF5_SPI1;
  HAL_GPIO_Init(GPIOA, &GPIO_InitStruct);

  /*Configure GPIO pin : ARD_D3_Pin */
  GPIO_InitStruct.Pin = ARD_D3_Pin;
  GPIO_InitStruct.Mode = GPIO_MODE_IT_RISING;
  GPIO_InitStruct.Pull = GPIO_NOPULL;
  HAL_GPIO_Init(ARD_D3_GPIO_Port, &GPIO_InitStruct);

  /*Configure GPIO pins : ARD_D8_Pin ISM43362_BOOT0_Pin ISM43362_WAKEUP_Pin LED2_Pin
                           SPSGRF_915_SDN_Pin ARD_D5_Pin PB5 */
  GPIO_InitStruct.Pin = ARD_D8_Pin|ISM43362_BOOT0_Pin|ISM43362_WAKEUP_Pin|LED2_Pin
                          |SPSGRF_915_SDN_Pin|ARD_D5_Pin|GPIO_PIN_5;
  GPIO_InitStruct.Mode = GPIO_MODE_OUTPUT_PP;
  GPIO_InitStruct.Pull = GPIO_NOPULL;
  GPIO_InitStruct.Speed = GPIO_SPEED_FREQ_LOW;
  HAL_GPIO_Init(GPIOB, &GPIO_InitStruct);

  /*Configure GPIO pins : LPS22HB_INT_DRDY_EXTI0_Pin LSM6DSL_INT1_EXTI11_Pin ARD_D2_Pin HTS221_DRDY_EXTI15_Pin
                           PMOD_IRQ_EXTI12_Pin */
  GPIO_InitStruct.Pin = LPS22HB_INT_DRDY_EXTI0_Pin|LSM6DSL_INT1_EXTI11_Pin|ARD_D2_Pin|HTS221_DRDY_EXTI15_Pin
                          |PMOD_IRQ_EXTI12_Pin;
  GPIO_InitStruct.Mode = GPIO_MODE_IT_RISING;
  GPIO_InitStruct.Pull = GPIO_NOPULL;
  HAL_GPIO_Init(GPIOD, &GPIO_InitStruct);

  /*Configure GPIO pins : USB_OTG_FS_PWR_EN_Pin SPBTLE_RF_SPI3_CSN_Pin PMOD_RESET_Pin STSAFE_A100_RESET_Pin */
  GPIO_InitStruct.Pin = USB_OTG_FS_PWR_EN_Pin|SPBTLE_RF_SPI3_CSN_Pin|PMOD_RESET_Pin|STSAFE_A100_RESET_Pin;
  GPIO_InitStruct.Mode = GPIO_MODE_OUTPUT_PP;
  GPIO_InitStruct.Pull = GPIO_NOPULL;
  GPIO_InitStruct.Speed = GPIO_SPEED_FREQ_LOW;
  HAL_GPIO_Init(GPIOD, &GPIO_InitStruct);

  /*Configure GPIO pins : VL53L0X_XSHUT_Pin LED3_WIFI__LED4_BLE_Pin */
  GPIO_InitStruct.Pin = VL53L0X_XSHUT_Pin|LED3_WIFI__LED4_BLE_Pin;
  GPIO_InitStruct.Mode = GPIO_MODE_OUTPUT_PP;
  GPIO_InitStruct.Pull = GPIO_NOPULL;
  GPIO_InitStruct.Speed = GPIO_SPEED_FREQ_LOW;
  HAL_GPIO_Init(GPIOC, &GPIO_InitStruct);

  /*Configure GPIO pins : VL53L0X_GPIO1_EXTI7_Pin LSM3MDL_DRDY_EXTI8_Pin */
  GPIO_InitStruct.Pin = VL53L0X_GPIO1_EXTI7_Pin|LSM3MDL_DRDY_EXTI8_Pin;
  GPIO_InitStruct.Mode = GPIO_MODE_IT_RISING;
  GPIO_InitStruct.Pull = GPIO_NOPULL;
  HAL_GPIO_Init(GPIOC, &GPIO_InitStruct);

  /*Configure GPIO pin : PMOD_SPI2_SCK_Pin */
  GPIO_InitStruct.Pin = PMOD_SPI2_SCK_Pin;
  GPIO_InitStruct.Mode = GPIO_MODE_AF_PP;
  GPIO_InitStruct.Pull = GPIO_NOPULL;
  GPIO_InitStruct.Speed = GPIO_SPEED_FREQ_VERY_HIGH;
  GPIO_InitStruct.Alternate = GPIO_AF5_SPI2;
  HAL_GPIO_Init(PMOD_SPI2_SCK_GPIO_Port, &GPIO_InitStruct);

  /*Configure GPIO pins : PMOD_UART2_CTS_Pin PMOD_UART2_RTS_Pin PMOD_UART2_TX_Pin PMOD_UART2_RX_Pin */
  GPIO_InitStruct.Pin = PMOD_UART2_CTS_Pin|PMOD_UART2_RTS_Pin|PMOD_UART2_TX_Pin|PMOD_UART2_RX_Pin;
  GPIO_InitStruct.Mode = GPIO_MODE_AF_PP;
  GPIO_InitStruct.Pull = GPIO_NOPULL;
  GPIO_InitStruct.Speed = GPIO_SPEED_FREQ_VERY_HIGH;
  GPIO_InitStruct.Alternate = GPIO_AF7_USART2;
  HAL_GPIO_Init(GPIOD, &GPIO_InitStruct);

  /*Configure GPIO pins : ARD_D15_Pin ARD_D14_Pin */
  GPIO_InitStruct.Pin = ARD_D15_Pin|ARD_D14_Pin;
  GPIO_InitStruct.Mode = GPIO_MODE_AF_OD;
  GPIO_InitStruct.Pull = GPIO_NOPULL;
  GPIO_InitStruct.Speed = GPIO_SPEED_FREQ_VERY_HIGH;
  GPIO_InitStruct.Alternate = GPIO_AF4_I2C1;
  HAL_GPIO_Init(GPIOB, &GPIO_InitStruct);

  /* EXTI interrupt init*/
  HAL_NVIC_SetPriority(EXTI9_5_IRQn, 0, 0);
  HAL_NVIC_EnableIRQ(EXTI9_5_IRQn);

  HAL_NVIC_SetPriority(EXTI15_10_IRQn, 0, 0);
  HAL_NVIC_EnableIRQ(EXTI15_10_IRQn);

}

/* USER CODE BEGIN 4 */
uint32_t captureValue = 0;
uint32_t previousCaptureValue = 0;
uint32_t frequency = 0;

void HAL_TIM_IC_CaptureCallback(TIM_HandleTypeDef *htim) {
    if (htim->Channel == HAL_TIM_ACTIVE_CHANNEL_4) {
        captureValue = HAL_TIM_ReadCapturedValue(htim, TIM_CHANNEL_4);
        frequency = HAL_RCC_GetPCLK1Freq() / (captureValue - previousCaptureValue);
        if(captureValue < previousCaptureValue)
        	frequency = HAL_RCC_GetPCLK1Freq() / (captureValue - previousCaptureValue+htim3.Init.Period+1);
        if(frequency != 0)
        	UART_Printf_Dbg("%d\n",frequency);
        previousCaptureValue = captureValue;
    }
}

/* USER CODE END 4 */

void Error_Handler(void)
{
  __disable_irq();
  while (1)
  {
  }
}
